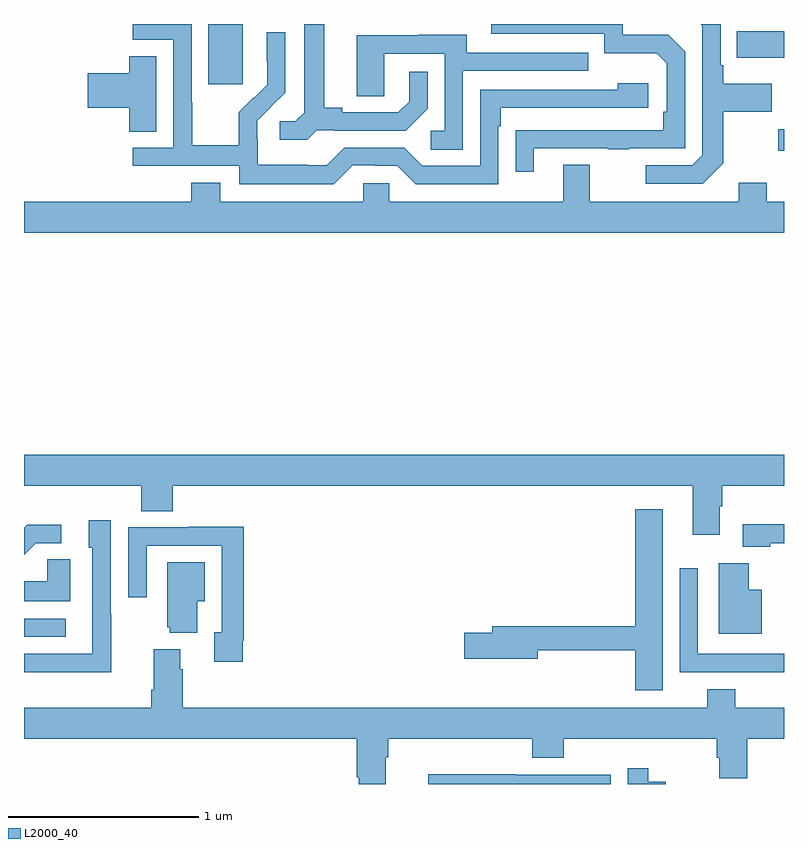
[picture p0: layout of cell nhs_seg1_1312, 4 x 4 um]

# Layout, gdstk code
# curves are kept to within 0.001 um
import gdstk
lib = gdstk.Library(unit=1e-6, precision=1e-09)
def R(c, l, rs):  # rectangles x0, y0, x1, y1
    for r in rs: c.add(gdstk.rectangle(r[:2], r[2:], *l))
def P(c, l, *ps):  # polygons
    for p in ps: c.add(gdstk.Polygon(p, *l))
L2000_40 = (2000, 40)

nhs_seg1_1312 = lib.new_cell('nhs_seg1_1312')
R(nhs_seg1_1312, L2000_40, [(183,514.974,183.22,515.07), (186.969,517.533,187,517.645), (183.971,517.881,184.15,518.199), (186.751,518.021,187,518.161)])
P(nhs_seg1_1312, L2000_40, [(186.679,517.465),(186.679,517.738),(186.935,517.738),(186.935,517.885),(186.679,517.885),(186.679,517.981),(186.666,517.981),(186.666,518.199),(186.561,518.199),(186.57,518.19),(186.57,517.509),(186.516,517.455),(186.273,517.455),(186.273,517.359),(186.573,517.359)],
  [(185.683,517.545),(186.073,517.545),(186.073,517.54),(186.185,517.54),(186.185,517.545),(186.48,517.545),(186.48,518.052),(186.39,518.142),(186.15,518.142),(186.15,518.199),(185.459,518.199),(185.459,518.148),(186.054,518.148),(186.054,518.045),(186.331,518.045),(186.384,517.992),(186.384,517.738),(186.364,517.738),(186.364,517.641),(185.587,517.64),(185.587,517.422),(185.683,517.422)],
  [(184.542,517.641),(184.636,517.641),(184.636,517.638),(185.008,517.638),(185.124,517.754),(185.124,517.948),(185.027,517.948),(185.027,517.791),(184.97,517.734),(184.675,517.734),(184.675,517.757),(184.579,517.757),(184.579,518.199),(184.475,518.199),(184.475,517.733),(184.428,517.686),(184.347,517.686),(184.347,517.589),(184.49,517.589)],
  [(184.731,517.455),(184.847,517.455),(184.847,517.452),(184.965,517.452),(185.061,517.356),(185.496,517.356),(185.496,517.661),(185.509,517.661),(185.509,517.758),(186.286,517.758),(186.286,517.888),(186.125,517.888),(186.125,517.854),(185.4,517.854),(185.4,517.452),(185.097,517.452),(185.001,517.548),(184.686,517.548),(184.593,517.455),(184.493,517.455),(184.493,517.459),(184.23,517.459),(184.23,517.593),(184.228,517.593),(184.228,517.69),(184.374,517.838),(184.374,518.156),(184.278,518.156),(184.278,518.002),(184.28,518.002),(184.28,517.88),(184.209,517.809),(184.206,517.812),(184.129,517.735),(184.129,517.561),(183.885,517.561),(183.885,517.784),(183.882,517.784),(183.882,518.199),(183.573,518.199),(183.573,518.115),(183.786,518.115),(183.786,517.548),(183.573,517.548),(183.573,517.452),(184.134,517.452),(184.134,517.355),(184.631,517.355)],
  [(185.31,517.953),(185.969,517.953),(185.969,518.049),(185.329,518.049),(185.329,518.143),(185.075,518.143),(185.075,518.139),(184.751,518.139),(184.751,517.819),(184.896,517.819),(184.896,518.043),(185.214,518.043),(185.214,517.638),(185.142,517.638),(185.142,517.537),(185.31,517.537)],
  [(183.697,518.03),(183.554,518.03),(183.554,517.94),(183.336,517.94),(183.336,517.757),(183.554,517.757),(183.554,517.633),(183.697,517.633)],
  [(187,517.264),(186.909,517.264),(186.909,517.363),(186.761,517.363),(186.761,517.264),(185.977,517.264),(185.977,517.459),(185.837,517.459),(185.837,517.264),(184.923,517.264),(184.923,517.362),(184.785,517.362),(184.785,517.264),(184.033,517.264),(184.033,517.363),(183.881,517.363),(183.881,517.264),(183,517.264),(183,517.1),(187,517.1)],
  [(186.661,515.662),(186.674,515.662),(186.674,515.768),(187,515.768),(187,515.932),(183,515.932),(183,515.768),(183.617,515.768),(183.617,515.635),(183.782,515.635),(183.782,515.768),(186.521,515.768),(186.521,515.511),(186.661,515.511)],
  [(186.361,515.644),(186.218,515.644),(186.218,515.03),(185.465,515.03),(185.465,514.994),(185.316,514.994),(185.316,514.859),(185.704,514.859),(185.704,514.902),(186.218,514.902),(186.218,514.692),(186.361,514.692)],
  [(183.459,515.093),(183.456,515.093),(183.456,515.587),(183.341,515.587),(183.341,515.442),(183.36,515.442),(183.36,514.884),(183,514.884),(183,514.787),(183.459,514.787)],
  [(186.927,515.465),(187,515.465),(187,515.566),(186.783,515.566),(186.783,515.447),(186.927,515.447)],
  [(183.061,515.466),(183.196,515.466),(183.196,515.564),(183.017,515.564),(183,515.547),(183,515.405)],
  [(184.15,514.954),(184.157,514.954),(184.157,515.552),(183.865,515.552),(183.865,515.55),(183.549,515.55),(183.549,515.181),(183.645,515.181),(183.645,515.454),(184.041,515.454),(184.041,514.998),(184.001,514.998),(184.001,514.842),(184.15,514.842)],
  [(183.244,515.381),(183.123,515.381),(183.123,515.266),(183,515.266),(183,515.162),(183.244,515.162)],
  [(183.913,515.162),(183.952,515.162),(183.952,515.365),(183.755,515.365),(183.755,515.025),(183.767,515.025),(183.767,514.994),(183.913,514.994)],
  [(186.883,515.221),(186.814,515.221),(186.814,515.362),(186.656,515.362),(186.656,514.991),(186.883,514.991)],
  [(187,514.884),(186.546,514.884),(186.546,515.335),(186.45,515.335),(186.45,514.788),(186.832,514.788),(186.832,514.787),(187,514.787)],
  [(183.836,514.802),(183.823,514.802),(183.823,514.909),(183.683,514.909),(183.683,514.696),(183.671,514.696),(183.671,514.6),(183,514.6),(183,514.436),(184.751,514.436),(184.751,514.234),(184.763,514.234),(184.763,514.199),(184.903,514.199),(184.903,514.34),(184.916,514.34),(184.916,514.436),(185.675,514.436),(185.675,514.337),(185.84,514.337),(185.84,514.436),(186.647,514.436),(186.647,514.338),(186.659,514.338),(186.659,514.228),(186.807,514.228),(186.807,514.436),(187,514.436),(187,514.6),(186.744,514.6),(186.744,514.699),(186.596,514.699),(186.596,514.6),(183.836,514.6)],
  [(186.378,514.212),(186.286,514.212),(186.286,514.282),(186.177,514.282),(186.177,514.199),(186.378,514.199)],
  [(186.087,514.248),(185.591,514.248),(185.591,514.25),(185.128,514.25),(185.128,514.199),(186.087,514.199)])

lib.write_gds('nhs_seg1_1312.gds')
